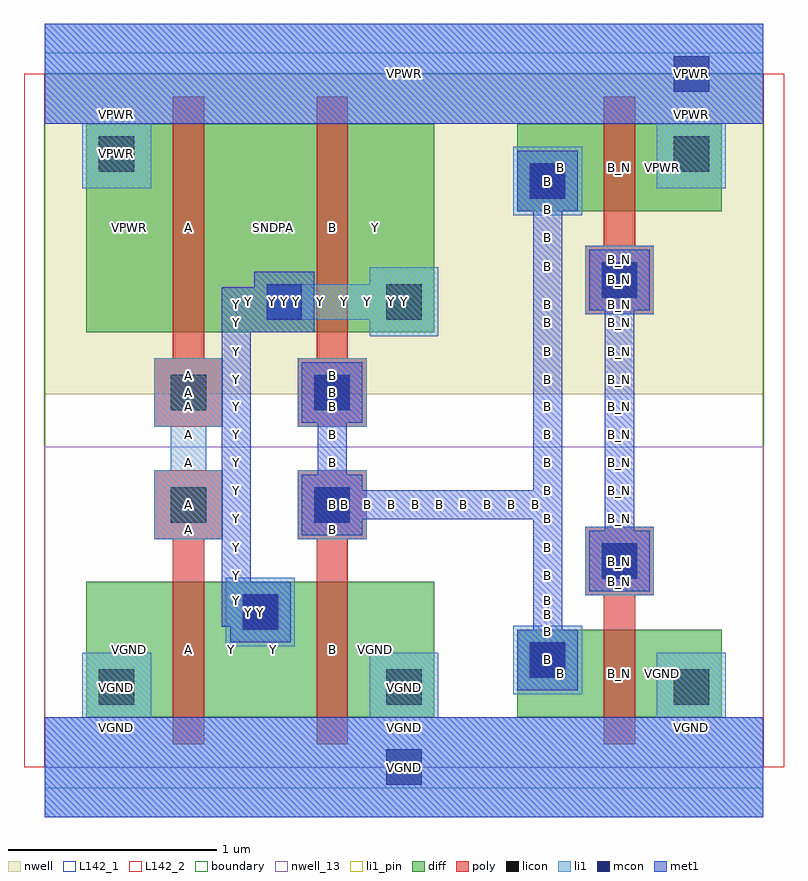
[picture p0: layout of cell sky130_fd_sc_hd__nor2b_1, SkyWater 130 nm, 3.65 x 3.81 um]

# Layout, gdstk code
import gdstk
lib = gdstk.Library(unit=1e-6, precision=1e-09)
def R(c, l, rs):  # rectangles x0, y0, x1, y1
    for r in rs: c.add(gdstk.rectangle(r[:2], r[2:], *l))
def A(c, l, x, y, w, h, nx, ny, dx, dy):  # array of equal rectangles
    R(c, l, [(x+i*dx, y+j*dy, x+i*dx+w, y+j*dy+h) for i in range(nx) for j in range(ny)])
def P(c, l, *ps):  # polygons
    for p in ps: c.add(gdstk.Polygon(p, *l))
nwell_13 = (64, 13)
nwell = (64, 20)
diff = (65, 20)
poly = (66, 20)
licon = (66, 44)
li1_pin = (67, 16)
li1 = (67, 20)
mcon = (67, 44)
met1 = (68, 20)
L142_1 = (142, 1)
L142_2 = (142, 2)
boundary = (235, 4)

sky130_fd_sc_hd__nor2b_1 = lib.new_cell('sky130_fd_sc_hd__nor2b_1')
R(sky130_fd_sc_hd__nor2b_1, nwell_13, [(0,0,3.45,1.54)])
R(sky130_fd_sc_hd__nor2b_1, nwell, [(0,1.79,3.45,3.33)])
R(sky130_fd_sc_hd__nor2b_1, diff, [(0.2,0.24,1.87,0.89), (0.2,0.24,0.615,0.89), (0.615,0.24,1.305,0.89), (1.305,0.24,1.87,0.89), (2.27,0.24,3.25,0.66), (2.27,0.24,2.685,0.66), (2.685,0.24,3.25,0.66), (0.2,2.09,1.87,3.09), (0.2,2.09,0.615,3.09), (0.615,2.09,1.305,3.09), (1.305,2.09,1.87,3.09), (2.27,2.67,3.25,3.09), (2.27,2.67,2.685,3.09), (2.685,2.67,3.25,3.09)])
P(sky130_fd_sc_hd__nor2b_1, poly, [(1.305,0.11),(1.305,1.095),(1.215,1.095),(1.215,1.425),(1.545,1.425),(1.545,1.095),(1.455,1.095),(1.455,0.11)],
  [(1.215,1.635),(1.215,1.965),(1.305,1.965),(1.305,3.22),(1.455,3.22),(1.455,1.965),(1.545,1.965),(1.545,1.635)],
  [(2.685,0.11),(2.685,0.825),(2.595,0.825),(2.595,1.155),(2.925,1.155),(2.925,0.825),(2.835,0.825),(2.835,0.11)],
  [(2.595,2.175),(2.595,2.505),(2.685,2.505),(2.685,3.22),(2.835,3.22),(2.835,2.505),(2.925,2.505),(2.925,2.175)],
  [(0.615,0.11),(0.615,1.095),(0.525,1.095),(0.525,1.425),(0.855,1.425),(0.855,1.095),(0.765,1.095),(0.765,0.11)],
  [(0.525,1.635),(0.525,1.965),(0.615,1.965),(0.615,3.22),(0.765,3.22),(0.765,1.965),(0.855,1.965),(0.855,1.635)])
A(sky130_fd_sc_hd__nor2b_1, licon, 0.26, 0.3, 0.17, 0.17, 3, 1, 1.38, 0)
R(sky130_fd_sc_hd__nor2b_1, licon, [(2.33,0.43,2.5,0.6), (0.95,0.66,1.12,0.83), (2.675,0.905,2.845,1.075), (0.605,1.175,0.775,1.345), (1.295,1.175,1.465,1.345), (0.605,1.715,0.775,1.885), (1.295,1.715,1.465,1.885), (1.64,2.15,1.81,2.32), (2.675,2.255,2.845,2.425), (2.33,2.73,2.5,2.9), (0.26,2.86,0.43,3.03), (3.02,2.86,3.19,3.03)])
R(sky130_fd_sc_hd__nor2b_1, li1_pin, [(0,-0.24,3.45,0.24), (0.87,0.58,1.2,0.91), (2.595,0.825,2.925,1.155), (0,3.09,3.45,3.57)])
P(sky130_fd_sc_hd__nor2b_1, li1_pin, [(0.525,1.095),(0.525,1.425),(0.605,1.425),(0.605,1.635),(0.525,1.635),(0.525,1.965),(0.855,1.965),(0.855,1.635),(0.775,1.635),(0.775,1.425),(0.855,1.425),(0.855,1.095)])
R(sky130_fd_sc_hd__nor2b_1, li1, [(2.25,0.35,2.58,0.68), (0.87,0.58,1.2,0.91), (2.595,0.825,2.925,1.155), (1.215,1.095,1.545,1.425), (1.215,1.635,1.545,1.965), (2.595,2.175,2.925,2.505), (2.25,2.65,2.58,2.98)])
P(sky130_fd_sc_hd__nor2b_1, li1, [(1.56,2.07),(1.56,2.15),(1.065,2.15),(1.065,2.32),(1.56,2.32),(1.56,2.4),(1.89,2.4),(1.89,2.07)],
  [(0.18,2.78),(0.18,3.09),(0,3.09),(0,3.57),(3.45,3.57),(3.45,3.09),(3.27,3.09),(3.27,2.78),(2.94,2.78),(2.94,3.09),(0.51,3.09),(0.51,2.78)],
  [(0,-0.24),(0,0.24),(0.18,0.24),(0.18,0.55),(0.51,0.55),(0.51,0.24),(1.56,0.24),(1.56,0.55),(1.89,0.55),(1.89,0.24),(2.94,0.24),(2.94,0.55),(3.27,0.55),(3.27,0.24),(3.45,0.24),(3.45,-0.24)],
  [(0.525,1.095),(0.525,1.425),(0.605,1.425),(0.605,1.635),(0.525,1.635),(0.525,1.965),(0.855,1.965),(0.855,1.635),(0.775,1.635),(0.775,1.425),(0.855,1.425),(0.855,1.095)])
R(sky130_fd_sc_hd__nor2b_1, mcon, [(1.64,-0.085,1.81,0.085), (2.33,0.43,2.5,0.6), (0.95,0.66,1.12,0.83), (2.675,0.905,2.845,1.075), (1.295,1.175,1.465,1.345), (1.295,1.715,1.465,1.885), (1.065,2.15,1.235,2.32), (2.675,2.255,2.845,2.425), (2.33,2.73,2.5,2.9), (3.02,3.245,3.19,3.415)])
R(sky130_fd_sc_hd__nor2b_1, met1, [(0,-0.24,3.45,0.24), (0.99,2.09,1.005,2.165), (0,3.09,3.45,3.57)])
P(sky130_fd_sc_hd__nor2b_1, met1, [(2.27,0.37),(2.27,0.66),(2.345,0.66),(2.345,1.19),(1.525,1.19),(1.525,1.115),(1.235,1.115),(1.235,1.405),(1.31,1.405),(1.31,1.655),(1.235,1.655),(1.235,1.945),(1.525,1.945),(1.525,1.655),(1.45,1.655),(1.45,1.405),(1.525,1.405),(1.525,1.33),(2.345,1.33),(2.345,2.67),(2.27,2.67),(2.27,2.96),(2.56,2.96),(2.56,2.67),(2.485,2.67),(2.485,0.66),(2.56,0.66),(2.56,0.37)],
  [(0.89,0.6),(0.89,0.675),(0.85,0.675),(0.85,2.305),(1.005,2.305),(1.005,2.38),(1.295,2.38),(1.295,2.09),(1.005,2.09),(1.005,2.165),(0.99,2.165),(0.99,0.89),(1.18,0.89),(1.18,0.6)],
  [(2.615,0.845),(2.615,1.135),(2.69,1.135),(2.69,2.195),(2.615,2.195),(2.615,2.485),(2.905,2.485),(2.905,2.195),(2.83,2.195),(2.83,1.135),(2.905,1.135),(2.905,0.845)])
R(sky130_fd_sc_hd__nor2b_1, L142_1, [(0,-0.1,3.45,0), (0,3.33,3.45,3.43)])
R(sky130_fd_sc_hd__nor2b_1, L142_2, [(-0.1,0,0,3.33), (3.45,0,3.55,3.33)])
R(sky130_fd_sc_hd__nor2b_1, boundary, [(0,0,3.45,3.33)])
sky130_fd_sc_hd__nor2b_1.add(gdstk.Label('Y', (1.097,0.565), layer=65, texttype=20))
sky130_fd_sc_hd__nor2b_1.add(gdstk.Label('VGND', (1.587,0.565), layer=65, texttype=20))
sky130_fd_sc_hd__nor2b_1.add(gdstk.Label('VGND', (0.407,0.565), layer=65, texttype=20))
sky130_fd_sc_hd__nor2b_1.add(gdstk.Label('Y', (0.897,0.565), layer=65, texttype=20))
sky130_fd_sc_hd__nor2b_1.add(gdstk.Label('B', (2.477,0.45), layer=65, texttype=20))
sky130_fd_sc_hd__nor2b_1.add(gdstk.Label('VGND', (2.967,0.45), layer=65, texttype=20))
sky130_fd_sc_hd__nor2b_1.add(gdstk.Label('Y', (1.097,0.565), layer=65, texttype=20))
sky130_fd_sc_hd__nor2b_1.add(gdstk.Label('VGND', (1.587,0.565), layer=65, texttype=20))
sky130_fd_sc_hd__nor2b_1.add(gdstk.Label('VGND', (0.407,0.565), layer=65, texttype=20))
sky130_fd_sc_hd__nor2b_1.add(gdstk.Label('Y', (0.897,0.565), layer=65, texttype=20))
sky130_fd_sc_hd__nor2b_1.add(gdstk.Label('B', (2.477,0.45), layer=65, texttype=20))
sky130_fd_sc_hd__nor2b_1.add(gdstk.Label('VGND', (2.967,0.45), layer=65, texttype=20))
sky130_fd_sc_hd__nor2b_1.add(gdstk.Label('Y', (1.035,0.745), layer=65, texttype=20))
sky130_fd_sc_hd__nor2b_1.add(gdstk.Label('VGND', (1.725,0.385), layer=65, texttype=20))
sky130_fd_sc_hd__nor2b_1.add(gdstk.Label('VGND', (3.105,0.385), layer=65, texttype=20))
sky130_fd_sc_hd__nor2b_1.add(gdstk.Label('VGND', (0.345,0.385), layer=65, texttype=20))
sky130_fd_sc_hd__nor2b_1.add(gdstk.Label('B', (2.415,0.515), layer=65, texttype=20))
sky130_fd_sc_hd__nor2b_1.add(gdstk.Label('SNDPA', (1.097,2.59), layer=65, texttype=20))
sky130_fd_sc_hd__nor2b_1.add(gdstk.Label('Y', (1.587,2.59), layer=65, texttype=20))
sky130_fd_sc_hd__nor2b_1.add(gdstk.Label('B', (2.477,2.88), layer=65, texttype=20))
sky130_fd_sc_hd__nor2b_1.add(gdstk.Label('VPWR', (2.967,2.88), layer=65, texttype=20))
sky130_fd_sc_hd__nor2b_1.add(gdstk.Label('VPWR', (0.407,2.59), layer=65, texttype=20))
sky130_fd_sc_hd__nor2b_1.add(gdstk.Label('SNDPA', (0.897,2.59), layer=65, texttype=20))
sky130_fd_sc_hd__nor2b_1.add(gdstk.Label('SNDPA', (1.097,2.59), layer=65, texttype=20))
sky130_fd_sc_hd__nor2b_1.add(gdstk.Label('Y', (1.587,2.59), layer=65, texttype=20))
sky130_fd_sc_hd__nor2b_1.add(gdstk.Label('B', (2.477,2.88), layer=65, texttype=20))
sky130_fd_sc_hd__nor2b_1.add(gdstk.Label('VPWR', (2.967,2.88), layer=65, texttype=20))
sky130_fd_sc_hd__nor2b_1.add(gdstk.Label('VPWR', (0.407,2.59), layer=65, texttype=20))
sky130_fd_sc_hd__nor2b_1.add(gdstk.Label('SNDPA', (0.897,2.59), layer=65, texttype=20))
sky130_fd_sc_hd__nor2b_1.add(gdstk.Label('Y', (1.725,2.235), layer=65, texttype=20))
sky130_fd_sc_hd__nor2b_1.add(gdstk.Label('B', (2.415,2.815), layer=65, texttype=20))
sky130_fd_sc_hd__nor2b_1.add(gdstk.Label('VPWR', (3.105,2.945), layer=65, texttype=20))
sky130_fd_sc_hd__nor2b_1.add(gdstk.Label('VPWR', (0.345,2.945), layer=65, texttype=20))
sky130_fd_sc_hd__nor2b_1.add(gdstk.Label('B', (1.38,0.565), layer=66, texttype=20))
sky130_fd_sc_hd__nor2b_1.add(gdstk.Label('B', (1.38,2.59), layer=66, texttype=20))
sky130_fd_sc_hd__nor2b_1.add(gdstk.Label('A', (0.69,0.565), layer=66, texttype=20))
sky130_fd_sc_hd__nor2b_1.add(gdstk.Label('B_N', (2.76,0.45), layer=66, texttype=20))
sky130_fd_sc_hd__nor2b_1.add(gdstk.Label('B_N', (2.76,2.88), layer=66, texttype=20))
sky130_fd_sc_hd__nor2b_1.add(gdstk.Label('A', (0.69,2.59), layer=66, texttype=20))
sky130_fd_sc_hd__nor2b_1.add(gdstk.Label('B', (1.38,0.565), layer=66, texttype=20))
sky130_fd_sc_hd__nor2b_1.add(gdstk.Label('B', (1.38,2.59), layer=66, texttype=20))
sky130_fd_sc_hd__nor2b_1.add(gdstk.Label('A', (0.69,0.565), layer=66, texttype=20))
sky130_fd_sc_hd__nor2b_1.add(gdstk.Label('B_N', (2.76,0.45), layer=66, texttype=20))
sky130_fd_sc_hd__nor2b_1.add(gdstk.Label('B_N', (2.76,2.88), layer=66, texttype=20))
sky130_fd_sc_hd__nor2b_1.add(gdstk.Label('A', (0.69,2.59), layer=66, texttype=20))
sky130_fd_sc_hd__nor2b_1.add(gdstk.Label('B', (1.38,1.14), layer=66, texttype=20))
sky130_fd_sc_hd__nor2b_1.add(gdstk.Label('B', (1.38,1.88), layer=66, texttype=20))
sky130_fd_sc_hd__nor2b_1.add(gdstk.Label('A', (0.69,1.14), layer=66, texttype=20))
sky130_fd_sc_hd__nor2b_1.add(gdstk.Label('A', (0.69,1.88), layer=66, texttype=20))
sky130_fd_sc_hd__nor2b_1.add(gdstk.Label('B_N', (2.76,0.89), layer=66, texttype=20))
sky130_fd_sc_hd__nor2b_1.add(gdstk.Label('B_N', (2.76,2.44), layer=66, texttype=20))
sky130_fd_sc_hd__nor2b_1.add(gdstk.Label('B', (1.38,1.26), layer=66, texttype=20))
sky130_fd_sc_hd__nor2b_1.add(gdstk.Label('B', (1.38,1.8), layer=66, texttype=20))
sky130_fd_sc_hd__nor2b_1.add(gdstk.Label('A', (0.69,1.26), layer=66, texttype=20))
sky130_fd_sc_hd__nor2b_1.add(gdstk.Label('A', (0.69,1.8), layer=66, texttype=20))
sky130_fd_sc_hd__nor2b_1.add(gdstk.Label('B_N', (2.76,0.99), layer=66, texttype=20))
sky130_fd_sc_hd__nor2b_1.add(gdstk.Label('B_N', (2.76,2.34), layer=66, texttype=20))
sky130_fd_sc_hd__nor2b_1.add(gdstk.Label('Y', (1.725,2.235), layer=66, texttype=44))
sky130_fd_sc_hd__nor2b_1.add(gdstk.Label('B', (2.415,2.815), layer=66, texttype=44))
sky130_fd_sc_hd__nor2b_1.add(gdstk.Label('VPWR', (3.105,2.945), layer=66, texttype=44))
sky130_fd_sc_hd__nor2b_1.add(gdstk.Label('VPWR', (0.345,2.945), layer=66, texttype=44))
sky130_fd_sc_hd__nor2b_1.add(gdstk.Label('Y', (1.035,0.745), layer=66, texttype=44))
sky130_fd_sc_hd__nor2b_1.add(gdstk.Label('VGND', (1.725,0.385), layer=66, texttype=44))
sky130_fd_sc_hd__nor2b_1.add(gdstk.Label('VGND', (3.105,0.385), layer=66, texttype=44))
sky130_fd_sc_hd__nor2b_1.add(gdstk.Label('VGND', (0.345,0.385), layer=66, texttype=44))
sky130_fd_sc_hd__nor2b_1.add(gdstk.Label('B', (2.415,0.515), layer=66, texttype=44))
sky130_fd_sc_hd__nor2b_1.add(gdstk.Label('B', (1.38,1.26), layer=66, texttype=44))
sky130_fd_sc_hd__nor2b_1.add(gdstk.Label('B', (1.38,1.8), layer=66, texttype=44))
sky130_fd_sc_hd__nor2b_1.add(gdstk.Label('A', (0.69,1.26), layer=66, texttype=44))
sky130_fd_sc_hd__nor2b_1.add(gdstk.Label('A', (0.69,1.8), layer=66, texttype=44))
sky130_fd_sc_hd__nor2b_1.add(gdstk.Label('B_N', (2.76,0.99), layer=66, texttype=44))
sky130_fd_sc_hd__nor2b_1.add(gdstk.Label('B_N', (2.76,2.34), layer=66, texttype=44))
sky130_fd_sc_hd__nor2b_1.add(gdstk.Label('VPWR', (1.725,3.33), layer=67, texttype=20))
sky130_fd_sc_hd__nor2b_1.add(gdstk.Label('VGND', (1.725,0), layer=67, texttype=20))
sky130_fd_sc_hd__nor2b_1.add(gdstk.Label('VPWR', (1.725,3.33), layer=67, texttype=20))
sky130_fd_sc_hd__nor2b_1.add(gdstk.Label('VGND', (1.725,0), layer=67, texttype=20))
sky130_fd_sc_hd__nor2b_1.add(gdstk.Label('Y', (1.207,2.235), layer=67, texttype=20))
sky130_fd_sc_hd__nor2b_1.add(gdstk.Label('Y', (1.322,2.235), layer=67, texttype=20))
sky130_fd_sc_hd__nor2b_1.add(gdstk.Label('Y', (1.437,2.235), layer=67, texttype=20))
sky130_fd_sc_hd__nor2b_1.add(gdstk.Label('Y', (1.552,2.235), layer=67, texttype=20))
sky130_fd_sc_hd__nor2b_1.add(gdstk.Label('Y', (1.667,2.235), layer=67, texttype=20))
sky130_fd_sc_hd__nor2b_1.add(gdstk.Label('VGND', (1.725,0.192), layer=67, texttype=20))
sky130_fd_sc_hd__nor2b_1.add(gdstk.Label('VGND', (3.105,0.192), layer=67, texttype=20))
sky130_fd_sc_hd__nor2b_1.add(gdstk.Label('VGND', (0.345,0.192), layer=67, texttype=20))
sky130_fd_sc_hd__nor2b_1.add(gdstk.Label('VPWR', (3.105,3.137), layer=67, texttype=20))
sky130_fd_sc_hd__nor2b_1.add(gdstk.Label('VPWR', (0.345,3.137), layer=67, texttype=20))
sky130_fd_sc_hd__nor2b_1.add(gdstk.Label('A', (0.69,1.327), layer=67, texttype=20))
sky130_fd_sc_hd__nor2b_1.add(gdstk.Label('A', (0.69,1.462), layer=67, texttype=20))
sky130_fd_sc_hd__nor2b_1.add(gdstk.Label('A', (0.69,1.597), layer=67, texttype=20))
sky130_fd_sc_hd__nor2b_1.add(gdstk.Label('A', (0.69,1.732), layer=67, texttype=20))
sky130_fd_sc_hd__nor2b_1.add(gdstk.Label('Y', (1.035,0.745), layer=67, texttype=20))
sky130_fd_sc_hd__nor2b_1.add(gdstk.Label('Y', (1.035,0.745), layer=67, texttype=20))
sky130_fd_sc_hd__nor2b_1.add(gdstk.Label('Y', (1.15,2.235), layer=67, texttype=20))
sky130_fd_sc_hd__nor2b_1.add(gdstk.Label('Y', (1.725,2.235), layer=67, texttype=20))
sky130_fd_sc_hd__nor2b_1.add(gdstk.Label('VGND', (1.725,0.385), layer=67, texttype=20))
sky130_fd_sc_hd__nor2b_1.add(gdstk.Label('VGND', (1.725,0), layer=67, texttype=20))
sky130_fd_sc_hd__nor2b_1.add(gdstk.Label('VGND', (3.105,0.385), layer=67, texttype=20))
sky130_fd_sc_hd__nor2b_1.add(gdstk.Label('VGND', (0.345,0.385), layer=67, texttype=20))
sky130_fd_sc_hd__nor2b_1.add(gdstk.Label('B', (2.415,0.515), layer=67, texttype=20))
sky130_fd_sc_hd__nor2b_1.add(gdstk.Label('B', (2.415,0.515), layer=67, texttype=20))
sky130_fd_sc_hd__nor2b_1.add(gdstk.Label('B', (2.415,2.815), layer=67, texttype=20))
sky130_fd_sc_hd__nor2b_1.add(gdstk.Label('B', (2.415,2.815), layer=67, texttype=20))
sky130_fd_sc_hd__nor2b_1.add(gdstk.Label('B', (1.38,1.26), layer=67, texttype=20))
sky130_fd_sc_hd__nor2b_1.add(gdstk.Label('B', (1.38,1.26), layer=67, texttype=20))
sky130_fd_sc_hd__nor2b_1.add(gdstk.Label('B', (1.38,1.8), layer=67, texttype=20))
sky130_fd_sc_hd__nor2b_1.add(gdstk.Label('B', (1.38,1.8), layer=67, texttype=20))
sky130_fd_sc_hd__nor2b_1.add(gdstk.Label('VPWR', (3.105,2.945), layer=67, texttype=20))
sky130_fd_sc_hd__nor2b_1.add(gdstk.Label('VPWR', (3.105,3.33), layer=67, texttype=20))
sky130_fd_sc_hd__nor2b_1.add(gdstk.Label('VPWR', (0.345,2.945), layer=67, texttype=20))
sky130_fd_sc_hd__nor2b_1.add(gdstk.Label('A', (0.69,1.26), layer=67, texttype=20))
sky130_fd_sc_hd__nor2b_1.add(gdstk.Label('A', (0.69,1.8), layer=67, texttype=20))
sky130_fd_sc_hd__nor2b_1.add(gdstk.Label('B_N', (2.76,0.99), layer=67, texttype=20))
sky130_fd_sc_hd__nor2b_1.add(gdstk.Label('B_N', (2.76,0.99), layer=67, texttype=20))
sky130_fd_sc_hd__nor2b_1.add(gdstk.Label('B_N', (2.76,2.34), layer=67, texttype=20))
sky130_fd_sc_hd__nor2b_1.add(gdstk.Label('B_N', (2.76,2.34), layer=67, texttype=20))
sky130_fd_sc_hd__nor2b_1.add(gdstk.Label('Y', (1.035,0.745), layer=67, texttype=5))
sky130_fd_sc_hd__nor2b_1.add(gdstk.Label('A', (0.69,1.26), layer=67, texttype=5))
sky130_fd_sc_hd__nor2b_1.add(gdstk.Label('B_N', (2.76,0.99), layer=67, texttype=5))
sky130_fd_sc_hd__nor2b_1.add(gdstk.Label('VGND', (1.725,0), layer=67, texttype=5))
sky130_fd_sc_hd__nor2b_1.add(gdstk.Label('VPWR', (1.725,3.33), layer=67, texttype=5))
sky130_fd_sc_hd__nor2b_1.add(gdstk.Label('Y', (1.035,0.745), layer=67, texttype=44))
sky130_fd_sc_hd__nor2b_1.add(gdstk.Label('Y', (1.15,2.235), layer=67, texttype=44))
sky130_fd_sc_hd__nor2b_1.add(gdstk.Label('VGND', (1.725,0), layer=67, texttype=44))
sky130_fd_sc_hd__nor2b_1.add(gdstk.Label('B', (2.415,0.515), layer=67, texttype=44))
sky130_fd_sc_hd__nor2b_1.add(gdstk.Label('B', (2.415,2.815), layer=67, texttype=44))
sky130_fd_sc_hd__nor2b_1.add(gdstk.Label('B', (1.38,1.26), layer=67, texttype=44))
sky130_fd_sc_hd__nor2b_1.add(gdstk.Label('B', (1.38,1.8), layer=67, texttype=44))
sky130_fd_sc_hd__nor2b_1.add(gdstk.Label('VPWR', (3.105,3.33), layer=67, texttype=44))
sky130_fd_sc_hd__nor2b_1.add(gdstk.Label('B_N', (2.76,0.99), layer=67, texttype=44))
sky130_fd_sc_hd__nor2b_1.add(gdstk.Label('B_N', (2.76,2.34), layer=67, texttype=44))
sky130_fd_sc_hd__nor2b_1.add(gdstk.Label('VPWR', (1.725,3.33), layer=68, texttype=20))
sky130_fd_sc_hd__nor2b_1.add(gdstk.Label('VGND', (1.725,0), layer=68, texttype=20))
sky130_fd_sc_hd__nor2b_1.add(gdstk.Label('VPWR', (1.725,3.33), layer=68, texttype=20))
sky130_fd_sc_hd__nor2b_1.add(gdstk.Label('VGND', (1.725,0), layer=68, texttype=20))
sky130_fd_sc_hd__nor2b_1.add(gdstk.Label('Y', (0.977,0.745), layer=68, texttype=20))
sky130_fd_sc_hd__nor2b_1.add(gdstk.Label('Y', (0.92,0.8), layer=68, texttype=20))
sky130_fd_sc_hd__nor2b_1.add(gdstk.Label('Y', (0.92,0.922), layer=68, texttype=20))
sky130_fd_sc_hd__nor2b_1.add(gdstk.Label('Y', (0.92,1.057), layer=68, texttype=20))
sky130_fd_sc_hd__nor2b_1.add(gdstk.Label('Y', (0.92,1.192), layer=68, texttype=20))
sky130_fd_sc_hd__nor2b_1.add(gdstk.Label('Y', (0.92,1.327), layer=68, texttype=20))
sky130_fd_sc_hd__nor2b_1.add(gdstk.Label('Y', (0.92,1.462), layer=68, texttype=20))
sky130_fd_sc_hd__nor2b_1.add(gdstk.Label('Y', (0.92,1.597), layer=68, texttype=20))
sky130_fd_sc_hd__nor2b_1.add(gdstk.Label('Y', (0.92,1.732), layer=68, texttype=20))
sky130_fd_sc_hd__nor2b_1.add(gdstk.Label('Y', (0.92,1.862), layer=68, texttype=20))
sky130_fd_sc_hd__nor2b_1.add(gdstk.Label('Y', (0.92,1.997), layer=68, texttype=20))
sky130_fd_sc_hd__nor2b_1.add(gdstk.Label('Y', (0.92,2.137), layer=68, texttype=20))
sky130_fd_sc_hd__nor2b_1.add(gdstk.Label('Y', (0.92,2.22), layer=68, texttype=20))
sky130_fd_sc_hd__nor2b_1.add(gdstk.Label('Y', (0.977,2.235), layer=68, texttype=20))
sky130_fd_sc_hd__nor2b_1.add(gdstk.Label('Y', (1.092,2.235), layer=68, texttype=20))
sky130_fd_sc_hd__nor2b_1.add(gdstk.Label('B', (2.415,0.55), layer=68, texttype=20))
sky130_fd_sc_hd__nor2b_1.add(gdstk.Label('B', (2.415,0.652), layer=68, texttype=20))
sky130_fd_sc_hd__nor2b_1.add(gdstk.Label('B', (2.415,0.732), layer=68, texttype=20))
sky130_fd_sc_hd__nor2b_1.add(gdstk.Label('B', (2.415,0.8), layer=68, texttype=20))
sky130_fd_sc_hd__nor2b_1.add(gdstk.Label('B', (2.415,0.922), layer=68, texttype=20))
sky130_fd_sc_hd__nor2b_1.add(gdstk.Label('B', (2.415,1.057), layer=68, texttype=20))
sky130_fd_sc_hd__nor2b_1.add(gdstk.Label('B', (2.415,1.192), layer=68, texttype=20))
sky130_fd_sc_hd__nor2b_1.add(gdstk.Label('B', (2.415,1.327), layer=68, texttype=20))
sky130_fd_sc_hd__nor2b_1.add(gdstk.Label('B', (2.357,1.26), layer=68, texttype=20))
sky130_fd_sc_hd__nor2b_1.add(gdstk.Label('B', (2.415,1.462), layer=68, texttype=20))
sky130_fd_sc_hd__nor2b_1.add(gdstk.Label('B', (2.415,1.597), layer=68, texttype=20))
sky130_fd_sc_hd__nor2b_1.add(gdstk.Label('B', (2.415,1.732), layer=68, texttype=20))
sky130_fd_sc_hd__nor2b_1.add(gdstk.Label('B', (2.415,1.862), layer=68, texttype=20))
sky130_fd_sc_hd__nor2b_1.add(gdstk.Label('B', (2.415,1.997), layer=68, texttype=20))
sky130_fd_sc_hd__nor2b_1.add(gdstk.Label('B', (2.415,2.137), layer=68, texttype=20))
sky130_fd_sc_hd__nor2b_1.add(gdstk.Label('B', (2.415,2.22), layer=68, texttype=20))
sky130_fd_sc_hd__nor2b_1.add(gdstk.Label('B', (2.415,2.287), layer=68, texttype=20))
sky130_fd_sc_hd__nor2b_1.add(gdstk.Label('B', (2.415,2.407), layer=68, texttype=20))
sky130_fd_sc_hd__nor2b_1.add(gdstk.Label('B', (2.415,2.542), layer=68, texttype=20))
sky130_fd_sc_hd__nor2b_1.add(gdstk.Label('B', (2.415,2.677), layer=68, texttype=20))
sky130_fd_sc_hd__nor2b_1.add(gdstk.Label('B', (2.415,2.78), layer=68, texttype=20))
sky130_fd_sc_hd__nor2b_1.add(gdstk.Label('B', (2.242,1.26), layer=68, texttype=20))
sky130_fd_sc_hd__nor2b_1.add(gdstk.Label('B', (2.127,1.26), layer=68, texttype=20))
sky130_fd_sc_hd__nor2b_1.add(gdstk.Label('B', (2.012,1.26), layer=68, texttype=20))
sky130_fd_sc_hd__nor2b_1.add(gdstk.Label('B', (1.897,1.26), layer=68, texttype=20))
sky130_fd_sc_hd__nor2b_1.add(gdstk.Label('B', (1.782,1.26), layer=68, texttype=20))
sky130_fd_sc_hd__nor2b_1.add(gdstk.Label('B', (1.667,1.26), layer=68, texttype=20))
sky130_fd_sc_hd__nor2b_1.add(gdstk.Label('B', (1.552,1.26), layer=68, texttype=20))
sky130_fd_sc_hd__nor2b_1.add(gdstk.Label('B', (1.437,1.26), layer=68, texttype=20))
sky130_fd_sc_hd__nor2b_1.add(gdstk.Label('B', (1.38,1.327), layer=68, texttype=20))
sky130_fd_sc_hd__nor2b_1.add(gdstk.Label('B', (1.38,1.462), layer=68, texttype=20))
sky130_fd_sc_hd__nor2b_1.add(gdstk.Label('B', (1.38,1.597), layer=68, texttype=20))
sky130_fd_sc_hd__nor2b_1.add(gdstk.Label('B', (1.38,1.732), layer=68, texttype=20))
sky130_fd_sc_hd__nor2b_1.add(gdstk.Label('B_N', (2.76,1.057), layer=68, texttype=20))
sky130_fd_sc_hd__nor2b_1.add(gdstk.Label('B_N', (2.76,1.192), layer=68, texttype=20))
sky130_fd_sc_hd__nor2b_1.add(gdstk.Label('B_N', (2.76,1.327), layer=68, texttype=20))
sky130_fd_sc_hd__nor2b_1.add(gdstk.Label('B_N', (2.76,1.462), layer=68, texttype=20))
sky130_fd_sc_hd__nor2b_1.add(gdstk.Label('B_N', (2.76,1.597), layer=68, texttype=20))
sky130_fd_sc_hd__nor2b_1.add(gdstk.Label('B_N', (2.76,1.732), layer=68, texttype=20))
sky130_fd_sc_hd__nor2b_1.add(gdstk.Label('B_N', (2.76,1.862), layer=68, texttype=20))
sky130_fd_sc_hd__nor2b_1.add(gdstk.Label('B_N', (2.76,1.997), layer=68, texttype=20))
sky130_fd_sc_hd__nor2b_1.add(gdstk.Label('B_N', (2.76,2.137), layer=68, texttype=20))
sky130_fd_sc_hd__nor2b_1.add(gdstk.Label('B_N', (2.76,2.22), layer=68, texttype=20))
sky130_fd_sc_hd__nor2b_1.add(gdstk.Label('B_N', (2.76,2.287), layer=68, texttype=20))
sky130_fd_sc_hd__nor2b_1.add(gdstk.Label('Y', (1.035,0.745), layer=68, texttype=20))
sky130_fd_sc_hd__nor2b_1.add(gdstk.Label('Y', (1.15,2.235), layer=68, texttype=20))
sky130_fd_sc_hd__nor2b_1.add(gdstk.Label('VGND', (1.725,0), layer=68, texttype=20))
sky130_fd_sc_hd__nor2b_1.add(gdstk.Label('B', (2.415,0.515), layer=68, texttype=20))
sky130_fd_sc_hd__nor2b_1.add(gdstk.Label('B', (2.415,2.815), layer=68, texttype=20))
sky130_fd_sc_hd__nor2b_1.add(gdstk.Label('B', (1.38,1.26), layer=68, texttype=20))
sky130_fd_sc_hd__nor2b_1.add(gdstk.Label('B', (1.38,1.8), layer=68, texttype=20))
sky130_fd_sc_hd__nor2b_1.add(gdstk.Label('VPWR', (3.105,3.33), layer=68, texttype=20))
sky130_fd_sc_hd__nor2b_1.add(gdstk.Label('B_N', (2.76,0.99), layer=68, texttype=20))
sky130_fd_sc_hd__nor2b_1.add(gdstk.Label('B_N', (2.76,2.34), layer=68, texttype=20))
sky130_fd_sc_hd__nor2b_1.add(gdstk.Label('VGND', (1.725,0), layer=68, texttype=5))
sky130_fd_sc_hd__nor2b_1.add(gdstk.Label('VPWR', (1.725,3.33), layer=68, texttype=5))

lib.write_gds('sky130_fd_sc_hd__nor2b_1.gds')
